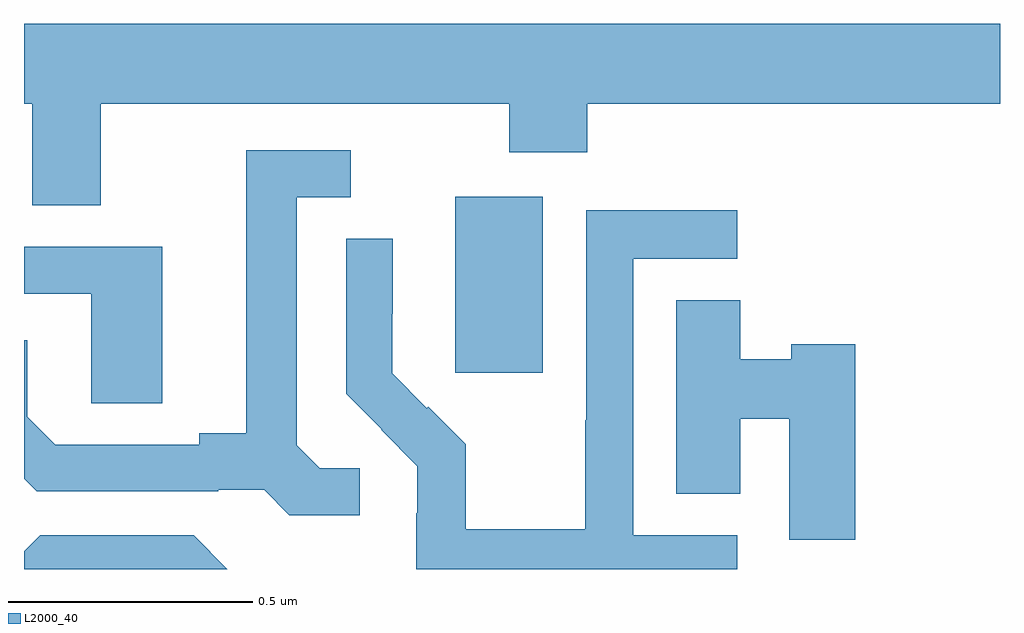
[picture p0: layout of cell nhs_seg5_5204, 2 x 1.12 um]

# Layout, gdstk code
import gdstk
lib = gdstk.Library(unit=1e-6, precision=1e-09)
def R(c, l, rs):  # rectangles x0, y0, x1, y1
    for r in rs: c.add(gdstk.rectangle(r[:2], r[2:], *l))
def P(c, l, *ps):  # polygons
    for p in ps: c.add(gdstk.Polygon(p, *l))
L2000_40 = (2000, 40)

nhs_seg5_5204 = lib.new_cell('nhs_seg5_5204')
R(nhs_seg5_5204, L2000_40, [(180.884,864.201,181.063,864.562)])
P(nhs_seg5_5204, L2000_40, [(180.157,864.752),(180.994,864.752),(180.994,864.653),(181.154,864.653),(181.154,864.752),(182,864.752),(182,864.916),(180,864.916),(180,864.752),(180.017,864.752),(180.017,864.544),(180.157,864.544)],
  [(180.688,864.006),(180.606,864.006),(180.559,864.053),(180.559,864.561),(180.67,864.561),(180.67,864.657),(180.455,864.657),(180.455,864.077),(180.359,864.077),(180.359,864.054),(180.064,864.054),(180.007,864.111),(180.007,864.268),(180,864.268),(180,863.984),(180.026,863.958),(180.398,863.958),(180.398,863.961),(180.492,863.961),(180.544,863.909),(180.688,863.909)],
  [(181.462,863.868),(181.248,863.868),(181.248,864.435),(181.462,864.435),(181.462,864.534),(181.152,864.534),(181.152,864.104),(181.15,864.104),(181.15,863.881),(180.905,863.881),(180.905,864.055),(180.828,864.132),(180.825,864.129),(180.755,864.2),(180.755,864.322),(180.756,864.322),(180.756,864.476),(180.66,864.476),(180.66,864.158),(180.733,864.085),(180.732,864.084),(180.806,864.01),(180.806,863.913),(180.804,863.913),(180.804,863.799),(181.462,863.799)],
  [(180.283,864.459),(180,864.459),(180,864.363),(180.138,864.363),(180.138,864.139),(180.283,864.139)],
  [(181.703,864.26),(181.572,864.26),(181.572,864.229),(181.468,864.229),(181.468,864.35),(181.337,864.35),(181.337,863.953),(181.468,863.953),(181.468,864.107),(181.568,864.107),(181.568,863.859),(181.703,863.859)],
  [(180.348,863.868),(180.033,863.868),(180,863.835),(180,863.799),(180.417,863.799)])

lib.write_gds('nhs_seg5_5204.gds')
